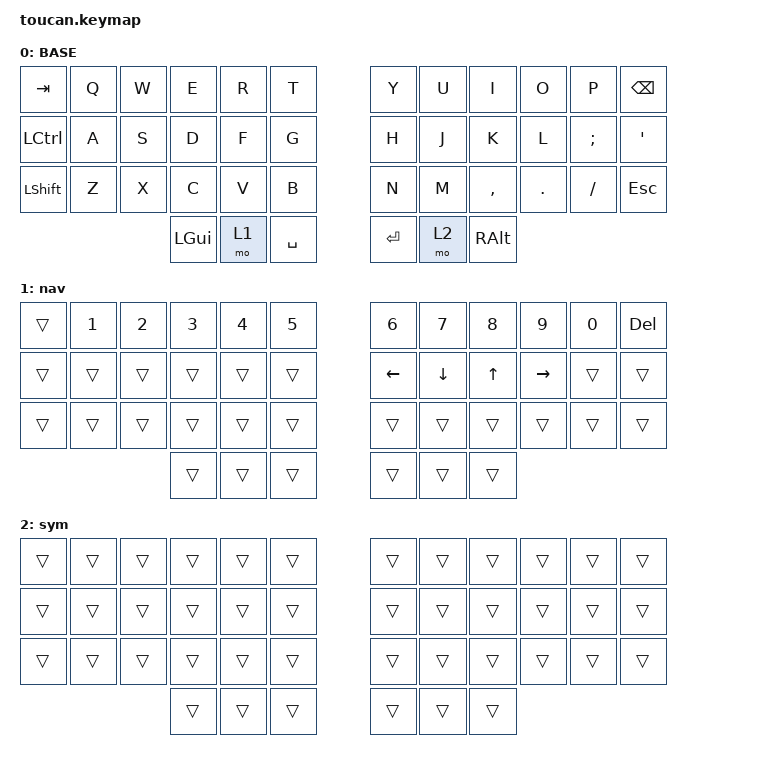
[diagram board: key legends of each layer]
#include <behaviors.dtsi>
#include <dt-bindings/zmk/keys.h>
#include <dt-bindings/zmk/bt.h>
#include <dt-bindings/zmk/outputs.h>

/ {
    keymap {
        compatible = "zmk,keymap";

        base {
            display-name = "BASE";
            bindings = <
                &kp TAB   &kp Q &kp W &kp E &kp R &kp T    &kp Y &kp U &kp I     &kp O   &kp P    &kp BSPC
                &kp LCTRL &kp A &kp S &kp D &kp F &kp G    &kp H &kp J &kp K     &kp L   &kp SEMI &kp SQT
                &kp LSHFT &kp Z &kp X &kp C &kp V &kp B    &kp N &kp M &kp COMMA &kp DOT &kp FSLH &kp ESC
                                &kp LGUI &mo 1 &kp SPACE   &kp RET &mo 2 &kp RALT
            >;
        };

        nav {
            bindings = <
                &trans &kp N1 &kp N2 &kp N3 &kp N4 &kp N5   &kp N6 &kp N7 &kp N8 &kp N9 &kp N0 &kp DEL
                &trans &trans &trans &trans &trans &trans   &kp LEFT &kp DOWN &kp UP &kp RIGHT &trans &trans
                &trans &trans &trans &trans &trans &trans   &trans &trans &trans &trans &trans &trans
                                     &trans &trans &trans   &trans &trans &trans
            >;
        };

        sym {
            bindings = <
                &trans &trans &trans &trans &trans &trans   &trans &trans &trans &trans &trans &trans
                &trans &trans &trans &trans &trans &trans   &trans &trans &trans &trans &trans &trans
                &trans &trans &trans &trans &trans &trans   &trans &trans &trans &trans &trans &trans
                                     &trans &trans &trans   &trans &trans &trans
            >;
        };
    };
};
